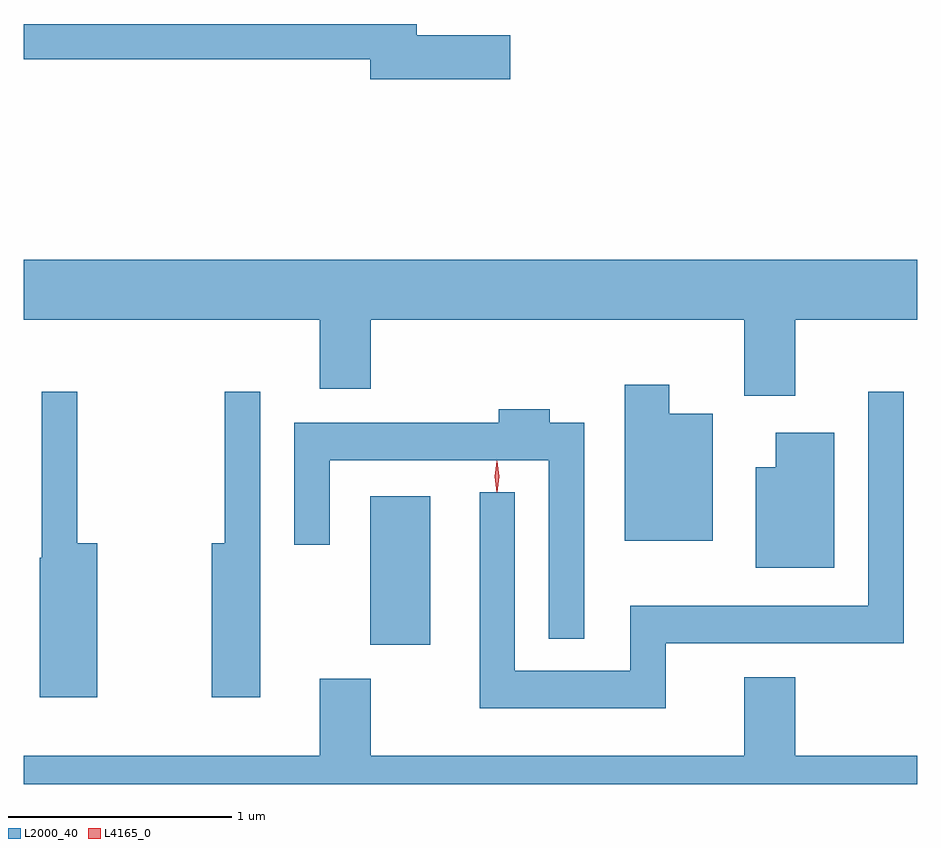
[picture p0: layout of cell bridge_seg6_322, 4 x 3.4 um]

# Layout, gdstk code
import gdstk
lib = gdstk.Library(unit=1e-6, precision=1e-09)
def R(c, l, rs):  # rectangles x0, y0, x1, y1
    for r in rs: c.add(gdstk.rectangle(r[:2], r[2:], *l))
def P(c, l, *ps):  # polygons
    for p in ps: c.add(gdstk.Polygon(p, *l))
L2000_40 = (2000, 40)
L4165_0 = (4165, 0)

bridge_seg6_322 = lib.new_cell('bridge_seg6_322')
R(bridge_seg6_322, L2000_40, [(1318.976,1559.681,1319.244,1560.344)])
P(bridge_seg6_322, L2000_40, [(1319.604,1562.409),(1319.184,1562.409),(1319.184,1562.459),(1317.425,1562.459),(1317.425,1562.301),(1318.976,1562.301),(1318.976,1562.211),(1319.604,1562.211)],
  [(1320.879,1561.136),(1321.425,1561.136),(1321.425,1561.404),(1317.425,1561.404),(1317.425,1561.136),(1318.751,1561.136),(1318.751,1560.826),(1318.979,1560.826),(1318.979,1561.136),(1320.651,1561.136),(1320.651,1560.796),(1320.879,1560.796)],
  [(1320.509,1560.714),(1320.314,1560.714),(1320.314,1560.844),(1320.116,1560.844),(1320.116,1560.146),(1320.509,1560.146)],
  [(1320.299,1559.686),(1321.364,1559.686),(1321.364,1560.813),(1321.206,1560.813),(1321.206,1559.854),(1320.141,1559.854),(1320.141,1559.564),(1319.624,1559.564),(1319.624,1560.363),(1319.466,1560.363),(1319.466,1559.396),(1320.299,1559.396)],
  [(1317.754,1560.134),(1317.664,1560.134),(1317.664,1560.813),(1317.506,1560.813),(1317.506,1560.07),(1317.496,1560.07),(1317.496,1559.446),(1317.754,1559.446)],
  [(1318.484,1560.813),(1318.326,1560.813),(1318.326,1560.134),(1318.266,1560.134),(1318.266,1559.446),(1318.484,1559.446)],
  [(1319.934,1560.674),(1319.779,1560.674),(1319.779,1560.734),(1319.551,1560.734),(1319.551,1560.674),(1318.636,1560.674),(1318.636,1560.128),(1318.794,1560.128),(1318.794,1560.506),(1319.776,1560.506),(1319.776,1559.708),(1319.934,1559.708)],
  [(1321.054,1560.629),(1320.791,1560.629),(1320.791,1560.474),(1320.701,1560.474),(1320.701,1560.026),(1321.054,1560.026)],
  [(1321.425,1559.184),(1320.879,1559.184),(1320.879,1559.534),(1320.651,1559.534),(1320.651,1559.184),(1318.979,1559.184),(1318.979,1559.529),(1318.751,1559.529),(1318.751,1559.184),(1317.425,1559.184),(1317.425,1559.057),(1321.425,1559.057)])
P(bridge_seg6_322, L4165_0, [(1319.543,1560.363),(1319.543,1560.364),(1319.533,1560.433),(1319.543,1560.502),(1319.543,1560.503),(1319.544,1560.502),(1319.553,1560.433),(1319.544,1560.364)],
  [(1319.544,1560.367),(1319.543,1560.368),(1319.534,1560.434),(1319.543,1560.5),(1319.544,1560.5),(1319.544,1560.5),(1319.554,1560.434),(1319.544,1560.368)])

lib.write_gds('bridge_seg6_322.gds')
